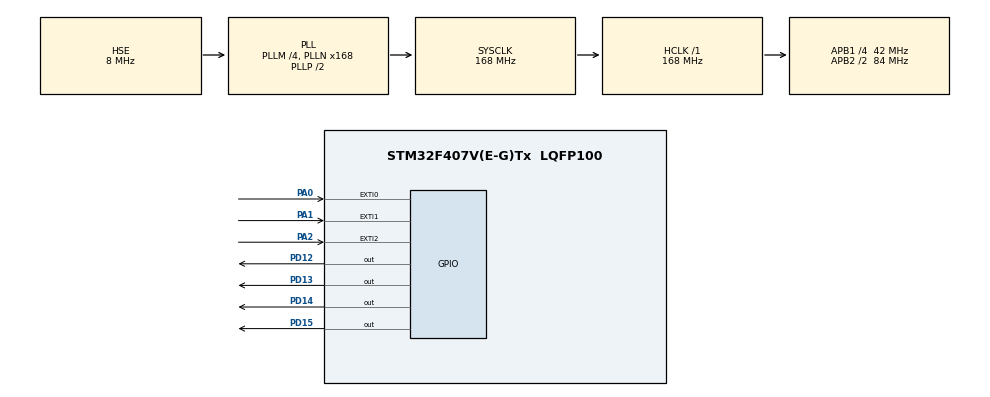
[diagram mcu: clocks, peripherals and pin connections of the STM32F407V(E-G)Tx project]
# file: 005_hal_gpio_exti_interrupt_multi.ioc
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Mcu.Family=STM32F4
Mcu.Name=STM32F407V(E-G)Tx
Mcu.Package=LQFP100
NVIC.EXTI0_IRQn=true\:0\:0\:true\:false\:true\:true\:true\:true
NVIC.EXTI1_IRQn=true\:0\:0\:true\:false\:true\:true\:true\:true
NVIC.EXTI2_IRQn=true\:0\:0\:true\:false\:true\:true\:true\:true
NVIC.PriorityGroup=NVIC_PRIORITYGROUP_4
PA0-WKUP.GPIO_ModeDefaultEXTI=GPIO_MODE_IT_RISING
PA0-WKUP.GPIO_PuPd=GPIO_PULLDOWN
PA0-WKUP.Signal=GPXTI0
PA1.GPIO_PuPd=GPIO_PULLDOWN
PA1.Signal=GPXTI1
PA13.Mode=Serial_Wire
PA13.Signal=SYS_JTMS-SWDIO
PA14.Mode=Serial_Wire
PA14.Signal=SYS_JTCK-SWCLK
PA2.GPIO_PuPd=GPIO_PULLDOWN
PA2.Signal=GPXTI2
PD12.Signal=GPIO_Output
PD13.Signal=GPIO_Output
PD14.Signal=GPIO_Output
PD15.Signal=GPIO_Output
PH0-OSC_IN.Mode=HSE-External-Oscillator
PH0-OSC_IN.Signal=RCC_OSC_IN
PH1-OSC_OUT.Mode=HSE-External-Oscillator
PH1-OSC_OUT.Signal=RCC_OSC_OUT
ProjectManager.HeapSize=0x200
ProjectManager.StackSize=0x400
ProjectManager.TargetToolchain=STM32CubeIDE
RCC.48MHZClocksFreq_Value=84000000
RCC.AHBFreq_Value=168000000
RCC.APB1CLKDivider=RCC_HCLK_DIV4
RCC.APB1Freq_Value=42000000
RCC.APB1TimFreq_Value=84000000
RCC.APB2CLKDivider=RCC_HCLK_DIV2
RCC.APB2Freq_Value=84000000
RCC.APB2TimFreq_Value=168000000
RCC.CortexFreq_Value=168000000
RCC.HCLKFreq_Value=168000000
RCC.HSE_VALUE=8000000
RCC.HSI_VALUE=16000000
RCC.LSE_VALUE=32768
RCC.PLLM=4
RCC.PLLN=168
RCC.PLLSourceVirtual=RCC_PLLSOURCE_HSE
RCC.SYSCLKFreq_VALUE=168000000
RCC.SYSCLKSource=RCC_SYSCLKSOURCE_PLLCLK
RCC.VCOOutputFreq_Value=336000000
board=custom

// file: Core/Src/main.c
/* USER CODE BEGIN Header */
/**
  ******************************************************************************
  * @file           : main.c
  * @brief          : Main program body
  ******************************************************************************
  * @attention
  *
  * Copyright (c) 2022 STMicroelectronics.
  * All rights reserved.
  *
  * This software is licensed under terms that can be found in the LICENSE file
  * in the root directory of this software component.
  * If no LICENSE file comes with this software, it is provided AS-IS.
  *
  ******************************************************************************
  */
/* USER CODE END Header */
#include "main.h"

/* USER CODE BEGIN PV */
//uint16_t cnt=0,i=0;
int cnt=0,i=0;
/* USER CODE END PV */

void SystemClock_Config(void);
static void MX_GPIO_Init(void);

/* USER CODE BEGIN 0 */

void delay(uint32_t tt){
	while(tt--);
}

void fun0(){
	  HAL_GPIO_WritePin(GPIOD, GPIO_PIN_12  ,GPIO_PIN_SET );
	  HAL_Delay(300);
	  HAL_GPIO_WritePin(GPIOD, GPIO_PIN_12 ,GPIO_PIN_RESET );
	  HAL_Delay(300);
	  HAL_GPIO_WritePin(GPIOD, GPIO_PIN_12  ,GPIO_PIN_SET );
	  HAL_Delay(300);
	  HAL_GPIO_WritePin(GPIOD, GPIO_PIN_12 ,GPIO_PIN_RESET );
	  HAL_Delay(300);
	  HAL_GPIO_WritePin(GPIOD, GPIO_PIN_12  ,GPIO_PIN_SET );
	  HAL_Delay(300);
	  HAL_GPIO_WritePin(GPIOD, GPIO_PIN_12 ,GPIO_PIN_RESET );
	  HAL_Delay(300);
}
void fun1(){
	  HAL_GPIO_WritePin(GPIOD, GPIO_PIN_13  ,GPIO_PIN_SET );
	  HAL_Delay(300);
	  HAL_GPIO_WritePin(GPIOD, GPIO_PIN_13 ,GPIO_PIN_RESET );
	  HAL_Delay(300);
	  HAL_GPIO_WritePin(GPIOD, GPIO_PIN_13  ,GPIO_PIN_SET );
	  HAL_Delay(300);
	  HAL_GPIO_WritePin(GPIOD, GPIO_PIN_13 ,GPIO_PIN_RESET );
	  HAL_Delay(300);
	  HAL_GPIO_WritePin(GPIOD, GPIO_PIN_13  ,GPIO_PIN_SET );
	  HAL_Delay(300);
	  HAL_GPIO_WritePin(GPIOD, GPIO_PIN_13 ,GPIO_PIN_RESET );
	  HAL_Delay(300);
}

// multi interrupt
void HAL_GPIO_EXTI_Callback(uint16_t GPIO_Pin){

	while(HAL_GPIO_ReadPin(GPIOA, GPIO_PIN_0));
	while(HAL_GPIO_ReadPin(GPIOA, GPIO_PIN_1));
	/*
    if(HAL_GPIO_ReadPin(GPIOA, GPIO_PIN_0)){ // PA0 interrupt ,bouncing oluyor nasıl cözerim bilmiyorum
	i++;
	//delay(1680000);
	if(i==1){
		cnt=1000;
	}else if(i==2){
		cnt=750;
	}else if(i==3){
		cnt=500;
	}else if(i==4){
		cnt=250;
	}else{
		i=0;
		cnt=250;
	}
  }else if(HAL_GPIO_ReadPin(GPIOA, GPIO_PIN_1)){ // PA1 interrupt
	  //delay(1680000);
	  cnt=2000;
  }else if(HAL_GPIO_ReadPin(GPIOA, GPIO_PIN_2)){ // PA2 interrupt
	  //delay(1680000);
	  cnt=3000;
  }
*/
// yukardaki ile aynı bok if else if  kosulları
  if(GPIO_Pin == GPIO_PIN_0 ){ // PA0 interrupt ,bouncing oluyor nasıl cözerim bilmiyorum
	  i++;
	  //HAL_GPIO_WritePin(GPIOD, GPIO_PIN_12 | GPIO_PIN_13 | GPIO_PIN_14 | GPIO_PIN_15 ,0 );
	  //HAL_GPIO_WritePin(GPIOD, GPIO_PIN_12 ,GPIO_PIN_SET );
	  //fun0();

  }else if(GPIO_Pin == GPIO_PIN_1 ){ // PA1 interrupt
	  i--;
	  //HAL_GPIO_WritePin(GPIOD, GPIO_PIN_12 | GPIO_PIN_13 | GPIO_PIN_14 | GPIO_PIN_15 ,0 );
	  //HAL_GPIO_WritePin(GPIOD, GPIO_PIN_15 ,1 );
	  //fun1();

  }else if(GPIO_Pin == GPIO_PIN_2){ // PA2 interrupt
	  cnt++;
	  //HAL_GPIO_WritePin(GPIOD, GPIO_PIN_12 | GPIO_PIN_13 | GPIO_PIN_14 | GPIO_PIN_15,0 );
	  //HAL_GPIO_WritePin(GPIOD,  GPIO_PIN_13,GPIO_PIN_SET );

  }

}

/* USER CODE END 0 */

int main(void)
{

  /* MCU Configuration--------------------------------------------------------*/

  /* Reset of all peripherals, Initializes the Flash interface and the Systick. */
  HAL_Init();

  /* Configure the system clock */
  SystemClock_Config();

  /* Initialize all configured peripherals */
  MX_GPIO_Init();

  /* Infinite loop */
  while (1)
  {

    /* USER CODE BEGIN 3 */
	  //HAL_GPIO_TogglePin(GPIOD, GPIO_PIN_12 | GPIO_PIN_13 | GPIO_PIN_14 | GPIO_PIN_15 );
	  //HAL_Delay(cnt);
	  if(i%2==0){
		  fun0();
	  }else if(i%3==0){
		  fun1();
	  }
  }
  /* USER CODE END 3 */
}

void SystemClock_Config(void)
{
  RCC_OscInitTypeDef RCC_OscInitStruct = {0};
  RCC_ClkInitTypeDef RCC_ClkInitStruct = {0};

  /** Configure the main internal regulator output voltage
  */
  __HAL_RCC_PWR_CLK_ENABLE();
  __HAL_PWR_VOLTAGESCALING_CONFIG(PWR_REGULATOR_VOLTAGE_SCALE1);

  /** Initializes the RCC Oscillators according to the specified parameters
  * in the RCC_OscInitTypeDef structure.
  */
  RCC_OscInitStruct.OscillatorType = RCC_OSCILLATORTYPE_HSE;
  RCC_OscInitStruct.HSEState = RCC_HSE_ON;
  RCC_OscInitStruct.PLL.PLLState = RCC_PLL_ON;
  RCC_OscInitStruct.PLL.PLLSource = RCC_PLLSOURCE_HSE;
  RCC_OscInitStruct.PLL.PLLM = 4;
  RCC_OscInitStruct.PLL.PLLN = 168;
  RCC_OscInitStruct.PLL.PLLP = RCC_PLLP_DIV2;
  RCC_OscInitStruct.PLL.PLLQ = 4;
  if (HAL_RCC_OscConfig(&RCC_OscInitStruct) != HAL_OK)
  {
    Error_Handler();
  }

  /** Initializes the CPU, AHB and APB buses clocks
  */
  RCC_ClkInitStruct.ClockType = RCC_CLOCKTYPE_HCLK|RCC_CLOCKTYPE_SYSCLK
                              |RCC_CLOCKTYPE_PCLK1|RCC_CLOCKTYPE_PCLK2;
  RCC_ClkInitStruct.SYSCLKSource = RCC_SYSCLKSOURCE_PLLCLK;
  RCC_ClkInitStruct.AHBCLKDivider = RCC_SYSCLK_DIV1;
  RCC_ClkInitStruct.APB1CLKDivider = RCC_HCLK_DIV4;
  RCC_ClkInitStruct.APB2CLKDivider = RCC_HCLK_DIV2;

  if (HAL_RCC_ClockConfig(&RCC_ClkInitStruct, FLASH_LATENCY_5) != HAL_OK)
  {
    Error_Handler();
  }
}

static void MX_GPIO_Init(void)
{
  GPIO_InitTypeDef GPIO_InitStruct = {0};

  /* GPIO Ports Clock Enable */
  __HAL_RCC_GPIOH_CLK_ENABLE();
  __HAL_RCC_GPIOA_CLK_ENABLE();
  __HAL_RCC_GPIOD_CLK_ENABLE();

  /*Configure GPIO pin Output Level */
  HAL_GPIO_WritePin(GPIOD, GPIO_PIN_12|GPIO_PIN_13|GPIO_PIN_14|GPIO_PIN_15, GPIO_PIN_RESET);

  /*Configure GPIO pins : PA0 PA1 PA2 */
  GPIO_InitStruct.Pin = GPIO_PIN_0|GPIO_PIN_1|GPIO_PIN_2;
  GPIO_InitStruct.Mode = GPIO_MODE_IT_RISING;
  GPIO_InitStruct.Pull = GPIO_PULLDOWN;
  HAL_GPIO_Init(GPIOA, &GPIO_InitStruct);

  /*Configure GPIO pins : PD12 PD13 PD14 PD15 */
  GPIO_InitStruct.Pin = GPIO_PIN_12|GPIO_PIN_13|GPIO_PIN_14|GPIO_PIN_15;
  GPIO_InitStruct.Mode = GPIO_MODE_OUTPUT_PP;
  GPIO_InitStruct.Pull = GPIO_NOPULL;
  GPIO_InitStruct.Speed = GPIO_SPEED_FREQ_LOW;
  HAL_GPIO_Init(GPIOD, &GPIO_InitStruct);

  /* EXTI interrupt init*/
  HAL_NVIC_SetPriority(EXTI0_IRQn, 0, 0);
  HAL_NVIC_EnableIRQ(EXTI0_IRQn);

  HAL_NVIC_SetPriority(EXTI1_IRQn, 0, 0);
  HAL_NVIC_EnableIRQ(EXTI1_IRQn);

  HAL_NVIC_SetPriority(EXTI2_IRQn, 0, 0);
  HAL_NVIC_EnableIRQ(EXTI2_IRQn);

}

void Error_Handler(void)
{
  __disable_irq();
  while (1)
  {
  }
}
